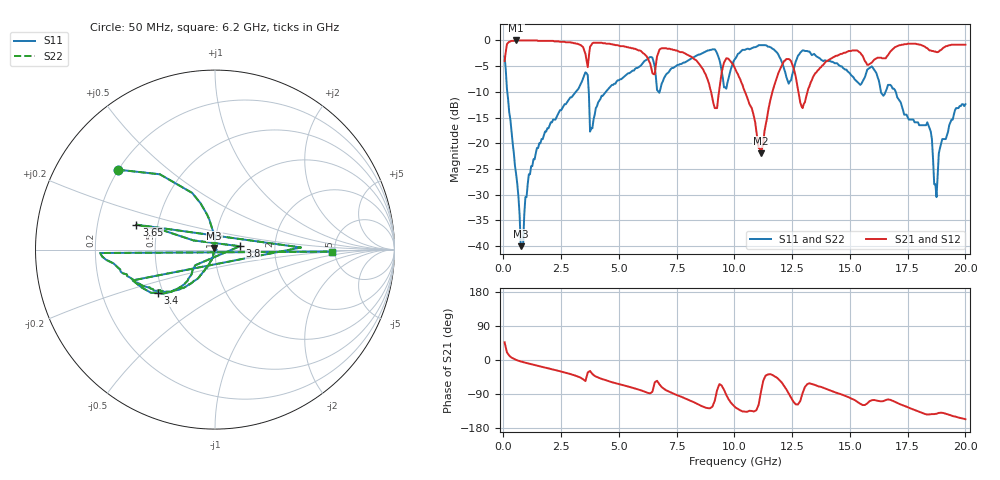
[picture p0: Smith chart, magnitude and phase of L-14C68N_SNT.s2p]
#	mhz	s	ma	r	50
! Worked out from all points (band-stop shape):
!   400 points, 50 MHz to 20 GHz, reference 50 ohm
!   highest |S21| = 0.00 dB at 550 MHz (marker M1); lowest = -21.9 dB at 11.15 GHz (marker M2)
!   |S21| within 3 dB of the highest: 79.06 MHz to 3.565 GHz (3.486 GHz wide, 191 % of centre); 16.62 GHz to end of sweep (the widest 2 of 5)
!   lowest |S11| = -40.0 dB at 750 MHz (marker M3), VSWR 1.02, Z = 49.6 + j0.912 ohm
!   |S11| at or under -10 dB: 165.7 MHz to 3.131 GHz (2.966 GHz wide, 180 % of centre); 3.694 GHz to 4.431 GHz (737.5 MHz wide, 18.2 % of centre); 16.98 GHz to end of sweep (the widest 3 of 5)
!   |S22| runs from -40.0 to -0.9 dB; largest |S21 - S12| = 0
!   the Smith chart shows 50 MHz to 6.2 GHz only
!   S11 on the Smith chart (normalised r, x): 50 MHz: 0.20, +0.35; 3.4 GHz: 0.47, -0.27; 3.65 GHz: 0.38, +0.13; 3.8 GHz: 1.32, +0.05; 6.2 GHz: 4.71, -0.18
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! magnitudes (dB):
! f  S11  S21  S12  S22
! 50 MHz  -3.1  -4.0  -4.0  -3.1
! 550 MHz  -26.0  0.0  0.0  -26.0
! 750 MHz  -40.0  0.0  0.0  -40.0
! 1.45 GHz  -20.9  0.0  0.0  -20.9
! 3.4 GHz  -8.0  -1.1  -1.1  -8.0
! 3.65 GHz  -6.7  -5.2  -5.2  -6.7
! 3.8 GHz  -17.1  -0.9  -0.9  -17.1
! 6.2 GHz  -3.7  -3.1  -3.1  -3.7
! 6.7 GHz  -9.9  -2.5  -2.5  -9.9
! 8.35 GHz  -3.0  -3.9  -3.9  -3.0
! 9.15 GHz  -1.7  -13.2  -13.2  -1.7
! 9.65 GHz  -9.4  -3.5  -3.5  -9.4
! 10.05 GHz  -3.5  -5.7  -5.7  -3.5
! 11.15 GHz  -0.9  -21.9  -21.9  -0.9
! 12.15 GHz  -5.5  -4.0  -4.0  -5.5
! 12.95 GHz  -1.9  -13.2  -13.2  -1.9
! 13.35 GHz  -2.9  -7.7  -7.7  -2.9
! 16.7 GHz  -8.6  -2.5  -2.5  -8.6
! 18.35 GHz  -15.9  -1.5  -1.5  -15.9
! 18.75 GHz  -30.5  -2.3  -2.3  -30.5
! 19 GHz  -19.2  -1.6  -1.6  -19.2
! 20 GHz  -12.4  -0.8  -0.8  -12.4
